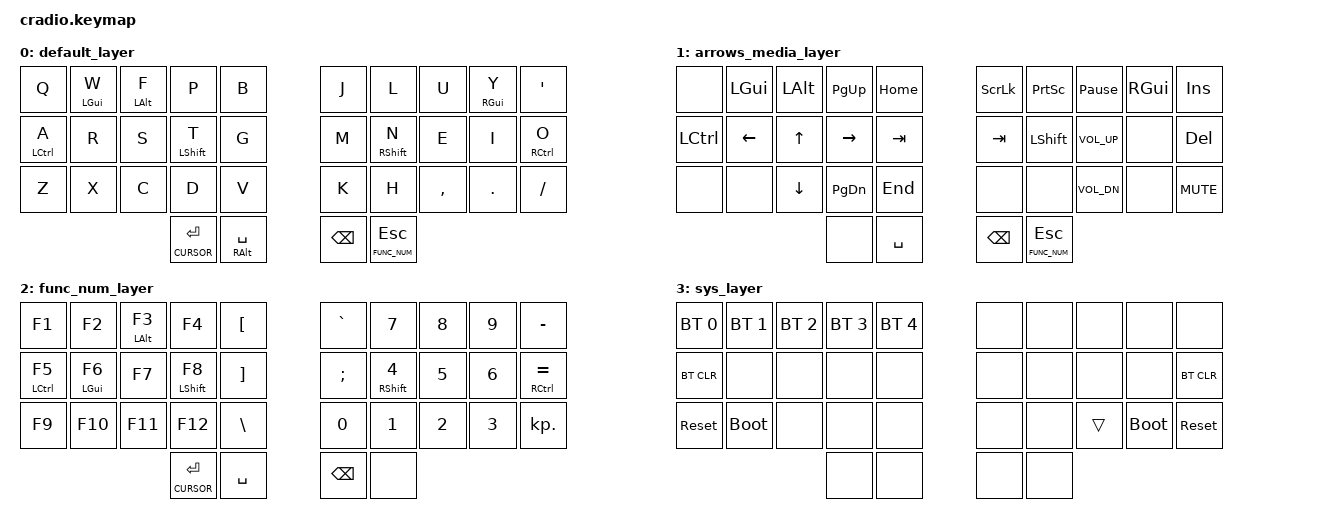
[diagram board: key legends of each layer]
// Copyright (c) 2022 The ZMK Contributors
// SPDX-License-Identifier: MIT

#include <behaviors.dtsi>
#include <dt-bindings/zmk/keys.h>
#include <dt-bindings/zmk/bt.h>

#define DEFAULT     0
#define CURSOR      1
#define FUNC_NUM    2
#define SYS         3

/ {
    behaviors {
        mt: mod_tap {
            compatible = "zmk,behavior-hold-tap";
            #binding-cells = <2>;
            flavor = "tap-preferred";
            tapping-term-ms = <200>;
            quick-tap-ms = <150>;
            require-prior-idle-ms = <100>;
            bindings = <&kp>, <&kp>;
            display-name = "Mod-Tap";
        };
    };

    conditional_layers {
        compatible = "zmk,conditional-layers";
        tri_layer {
            if-layers = <CURSOR FUNC_NUM>;
            then-layer = <SYS>;
        };
    };

    keymap {
        compatible = "zmk,keymap";

        default_layer {
            bindings = <
        //╭────────────┬────────────┬────────────┬────────────┬────────────╮   ╭────────────┬────────────┬────────────┬────────────┬────────────╮
        //│ Q          │ W (LGUI)   │ F (LALT)   │  P         │  B         │   │  J         │  L         │  U         │ Y          │ ' and "    │
            &kp Q        &mt LGUI W    &mt LALT F   &kp P        &kp B            &kp J        &kp L        &kp U       &mt RGUI Y   &kp SQT
        //├────────────┼────────────┼────────────┼────────────┼────────────┤   ├────────────┼────────────┼────────────┼────────────┼────────────┤
        //│ A (LCTRL)  │ R          │ S          │ T (LSHFT)  │  G         │   │  M         │  N         │  E         │ I          │  O         │
            &mt LCTRL A  &kp R        &kp S        &mt LSHFT T   &kp G            &kp M       &mt RSHFT N   &kp E       &kp I        &mt RCTRL O
        //├────────────┼────────────┼────────────┼────────────┼────────────┤   ├────────────┼────────────┼────────────┼────────────┼────────────┤
        //│ Z          │ X          │ C          │  D         │  V         │   │  K         │  H         │ , and <    │ . and      │ / and ?    │
            &kp Z        &kp X        &kp C         &kp D        &kp V            &kp K        &kp H       &kp COMMA    &kp DOT      &kp FSLH
        //╰────────────┴────────────┴────────────┼────────────┼────────────┤   ├────────────┼────────────┼────────────┴────────────┴────────────╯
                                              &lt CURSOR ENTER  &mt RALT SPACE   &kp BSPC     &lt FUNC_NUM ESC
        //                                       ╰────────────┴────────────╯   ╰────────────┴────────────╯
            >;
        };

        arrows_media_layer {
            bindings = <
        //╭────────────┬────────────┬────────────┬────────────┬────────────╮   ╭────────────┬────────────┬────────────┬────────────┬────────────╮
        //│            │ LGUI       │ LEFT_ALT   │ PAGE_UP    │ HOME       │   │ SLCK       │ PSCRN      │PAUSE_BREAK │   RGUI     │  INS       │
            &none        &kp LGUI     &kp LALT     &kp PG_UP    &kp HOME         &kp SLCK     &kp PSCRN  &kp PAUSE_BREAK  &kp RGUI    &kp INS
        //├────────────┼────────────┼────────────┼────────────┼────────────┤   ├────────────┼────────────┼────────────┼────────────┼────────────┤
        //│ LCTRL      │ LEFT       │ UP         │ RIGHT      │ TAB        │   │ TAB        │ LSHFT      │ C_VOL_UP   │            │ DEL        │
            &kp LCTRL    &kp LEFT     &kp UP       &kp RIGHT    &kp TAB          &kp TAB      &kp LSHFT   &kp C_VOL_UP  &none        &kp DEL
        //├────────────┼────────────┼────────────┼────────────┼────────────┤   ├────────────┼────────────┼────────────┼────────────┼────────────┤
        //│            │            │ DOWN       │ PAGE_DOWN  │ END        │   │            │            │ C_VOL_DN   │            │ C_MUTE     │
            &none        &none        &kp DOWN     &kp PG_DN    &kp END          &none        &none       &kp C_VOL_DN  &none        &kp C_MUTE
        //╰────────────┴────────────┴────────────┼────────────┼────────────┤   ├────────────┼────────────┼────────────┴────────────┴────────────╯
                                                   &none        &kp SPACE        &kp BSPC    &lt FUNC_NUM ESC
        //                                       ╰────────────┴────────────╯   ╰────────────┴────────────╯
            >;
        };

        func_num_layer {
            bindings = <
        //╭────────────┬────────────┬────────────┬────────────┬────────────╮   ╭────────────┬────────────┬────────────┬────────────┬────────────╮
        //│ F1         │ F2         │ F3 (LALT)  │ F4         │ [ and {    │   │ ` and ¬    │  7 and &   │  8 and *   │  9 and (   │  - and _   │
            &kp F1       &kp F2       &mt LALT F3  &kp F4       &kp LBKT         &kp GRAVE     &kp N7       &kp N8       &kp N9       &kp MINUS
        //├────────────┼────────────┼────────────┼────────────┼────────────┤   ├────────────┼────────────┼────────────┼────────────┼────────────┤
        //│F5 (LCTRL)  │ F6 (LGUI)  │ F7         │ F8 LSHFT   │ ] and }    │   │ ; and :    │4 $ (RSHFT) │ 5 and %    │ 6 and ^    │= + (RCTRL) │
           &mt LCTRL F5 &mt LGUI F6   &kp F7      &mt LSHFT F8  &kp RBKT         &kp SEMI    &mt RSHFT N4  &kp N5       &kp N6      &mt RCTRL EQUAL
        //├────────────┼────────────┼────────────┼────────────┼────────────┤   ├────────────┼────────────┼────────────┼────────────┼────────────┤
        //│ F9         │ F10        │ F11        │ F12        │ \ and |    │   │ 0 and )    │ 1 and !    │  2 and @   │  3 and #   │ DEL and .  │
            &kp F9       &kp F10      &kp F11      &kp F12      &kp BSLH         &kp N0       &kp N1        &kp N2       &kp N3      &kp KP_DOT
        //╰────────────┴────────────┴────────────┼────────────┼────────────┤   ├────────────┼────────────┼────────────┴────────────┴────────────╯
                                             &lt CURSOR ENTER   &kp SPACE        &kp BSPC     &none
        //                                       ╰────────────┴────────────╯   ╰────────────┴────────────╯
            >;
        };

        sys_layer {
            bindings = <
        //╭────────────┬────────────┬────────────┬────────────┬────────────╮   ╭────────────┬────────────┬────────────┬────────────┬────────────╮
        //│ BT 0       │ BT 1       │ BT 2       │ BT 3       │ BT 4       │   │            │            │            │            │            │
           &bt BT_SEL 0 &bt BT_SEL 1 &bt BT_SEL 2 &bt BT_SEL 3 &bt BT_SEL 4      &none        &none        &none        &none        &none
        //├────────────┼────────────┼────────────┼────────────┼────────────┤   ├────────────┼────────────┼────────────┼────────────┼────────────┤
        //│ BT_CLR     │            │            │            │            │   │            │            │            │            │ BT_CLR     │
            &bt BT_CLR      &none        &none      &none        &none            &none        &none        &none        &none       &bt BT_CLR
        //├────────────┼────────────┼────────────┼────────────┼────────────┤   ├────────────┼────────────┼────────────┼────────────┼────────────┤
        //│ RESET      │BOOTLOADER  │            │            │            │   │            │            │            │BOOTLOADER  │ RESET      │
            &sys_reset   &bootloader   &none        &none        &none            &none        &none        &trans      &bootloader  &sys_reset
        //╰────────────┴────────────┴────────────┼────────────┼────────────┤   ├────────────┼────────────┼────────────┴────────────┴────────────╯
                                                    &none        &none            &none        &none
        //                                       ╰────────────┴────────────╯   ╰────────────┴────────────╯
            >;
        };
    };
};
